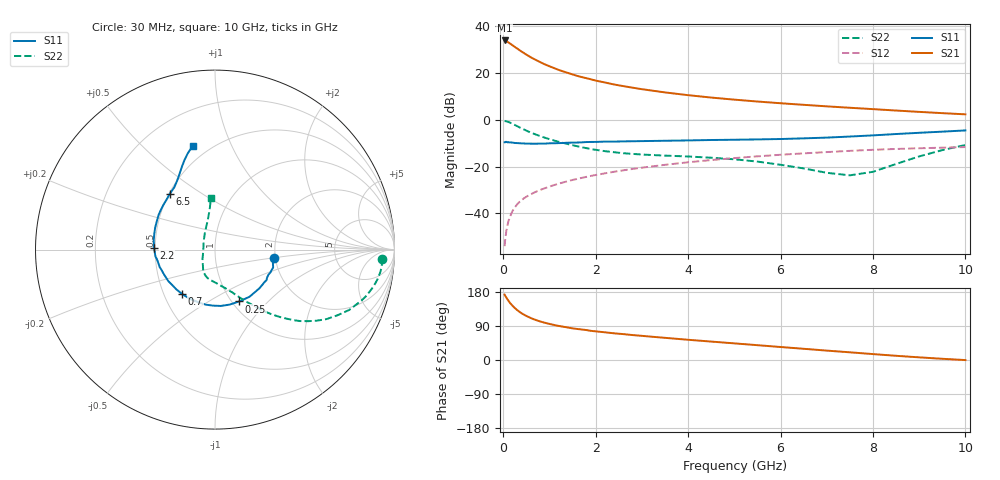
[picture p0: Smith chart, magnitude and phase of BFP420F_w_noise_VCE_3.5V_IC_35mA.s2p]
! Infineon Technologies  Discrete & RF Semiconductors
! BFP420F
! VCE =  3.5 V,  IC =  35 mA
! Common Emitter S-Parameters:  Sep 2011
# GHz  S  MA  R  50
!  f  S11  S21  S12  S22
! GHz  MAG  ANG  MAG  ANG  MAG  ANG  MAG  ANG
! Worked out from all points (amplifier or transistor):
!   54 points, 30 MHz to 10 GHz, reference 50 ohm
!   highest |S21| = 33.8 dB at 30 MHz (marker M1)
!   |S21| within 3 dB of that: start of sweep to 268.4 MHz
!   unconditionally stable (mu >= 1): 1.464 GHz to end of sweep
!   at 120 MHz: K = 0.38, MSG = 37.8 dB, |S12| = -42.7 dB
!   at 1.3 GHz: K = 0.97, MSG = 23.7 dB, |S12| = -26.7 dB
!   at 10 GHz: K = 1.22, MAG = 4.2 dB, |S12| = -11.7 dB
!   lowest NFmin = 1.93 dB at 450 MHz
!   S11 on the Smith chart (normalised r, x): 30 MHz: 1.96, -0.20; 250 MHz: 1.08, -0.69; 700 MHz: 0.62, -0.34; 2.2 GHz: 0.49, +0.01; 6.5 GHz: 0.51, +0.38; 10 GHz: 0.41, +0.72
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0.03  0.3307 -7.9  49.16 172.4  0.002 86.4  0.9332 -3.1
0.07  0.3352 -20.2  47.37 164.3  0.0044 82.8  0.9249 -9.1
0.12  0.329 -34.2  44.27 154.9  0.0073 79.4  0.8901 -15.6
0.15  0.328 -41.4  42.11 150.2  0.0087 77.4  0.8646 -19.1
0.2  0.3255 -53.8  38.89 143.4  0.0112 75.6  0.8202 -24.2
0.25  0.3189 -64.9  35.78 137.2  0.0134 73.5  0.7731 -28.3
0.3  0.317 -75.4  33.19 131.9  0.0156 71.6  0.7313 -32.0
0.35  0.3155 -84.3  30.64 127.3  0.0175 70.0  0.6893 -35.1
0.45  0.311 -99.5  26.39 119.5  0.0211 68.5  0.6182 -40.1
0.6  0.3082 -117.4  21.41 110.5  0.0257 67.2  0.5295 -45.6
0.7  0.3076 -126.5  19 105.8  0.0288 67.0  0.4853 -48.4
0.9  0.3095 -140.6  15.2 98.3  0.0345 66.6  0.4131 -52.9
1.1  0.3146 -151.0  12.64 92.4  0.0403 66.4  0.3595 -57.0
1.3  0.3185 -159.0  10.7 87.8  0.046 66.2  0.3195 -60.6
1.7  0.3288 -171.1  8.129 80.5  0.0574 65.5  0.2581 -67.8
2.2  0.3412 178.5  6.233 73.1  0.0717 64.0  0.2133 -77.7
3.5  0.3555 159.5  3.827 58.5  0.109 57.9  0.1713 -98.4
5.5  0.3798 139.7  2.445 39.1  0.1653 45.8  0.1278 -121.2
6.5  0.4001 128.8  2.079 29.6  0.1914 39.2  0.0914 -140.2
7  0.4152 123.0  1.929 24.8  0.2038 35.8  0.0736 -156.2
8.5  0.495 112.0  1.571 11.1  0.2377 25.0  0.1135 119.3
10  0.5909 102.2  1.303 -0.2  0.2609 15.6  0.2884 94.5
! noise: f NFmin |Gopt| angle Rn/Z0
0.45  1.93  0.32  -175  0.1
0.9  1.94  0.34  -172  0.13
1.9  2.07  0.39  -162  0.12
2.4  2.14  0.38  -155  0.13
3.5  2.39  0.37  -143  0.19
